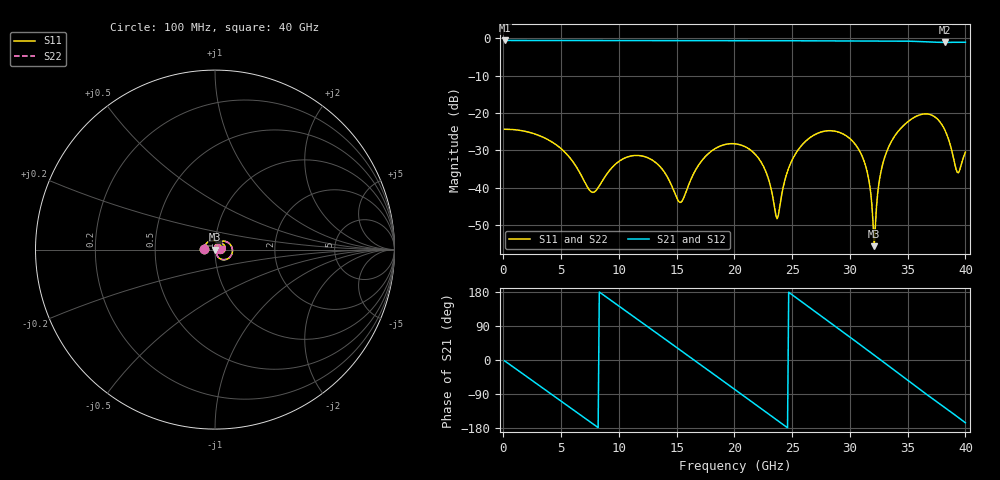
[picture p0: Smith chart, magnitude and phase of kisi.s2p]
! T_vna6_cpwg_10: Coplanar waveguide with ground, LibreVNA RF class (w 0.35, gap 0.18 mm), 10 mm
! stackup: LibreVNA 6-layer (7628 / FR-4, from the board file)
! ports: 1 near A, 2 far A
! kisi-fdtd, conformal, dfine 0.035 mm, 683520 cells
# Hz S RI R 50
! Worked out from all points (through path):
!   400 points, 100 MHz to 40 GHz, reference 50 ohm
!   highest |S21| = -0.54 dB at 100 MHz (marker M1); lowest = -1.1 dB at 38.2 GHz (marker M2)
!   group delay of S21, straight-line fit = 61.5 ps
!   lowest |S11| = -55.6 dB at 32.1 GHz (marker M3), VSWR 1.00, Z = 50.2 + j0.0127 ohm
!   |S11| at or under -10 dB: start of sweep to end of sweep
!   |S22| runs from -55.6 to -20.2 dB; largest |S21 - S12| = 0
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1e8  -0.0608 0.00284  0.9386 -0.0358  0.9386 -0.0358  -0.0608 0.00284
3.6e9  0.00337 0.0461  0.1889 -0.918  0.1889 -0.918  0.00337 0.0461
6.8e9  0.012 0.00733  -0.7931 -0.4968  -0.7931 -0.4968  0.012 0.00733
9.6e9  0.0026 0.0199  -0.8185 0.4527  -0.8185 0.4527  0.0026 0.0199
1.34e10  0.0196 0.0054  0.3498 0.8665  0.3498 0.8665  0.0196 0.0054
1.53e10  0.00453 0.00448  0.8368 0.4149  0.8368 0.4149  0.00453 0.00448
1.67e10  0.00176 0.0179  0.9309 -0.0711  0.9309 -0.0711  0.00176 0.0179
2.01e10  0.0356 0.0154  0.1741 -0.9156  0.1741 -0.9156  0.0356 0.0154
2.24e10  0.0196 -0.00739  -0.6 -0.7127  -0.6 -0.7127  0.0196 -0.00739
2.37e10  0.00331 0.00197  -0.8693 -0.3347  -0.8693 -0.3347  0.00331 0.00197
2.48e10  0.00208 0.02  -0.9292 0.0558  -0.9292 0.0558  0.00208 0.02
2.67e10  0.0322 0.0366  -0.6476 0.6656  -0.6476 0.6656  0.0322 0.0366
2.87e10  0.0571 0.00493  0.00772 0.927  0.00772 0.927  0.0571 0.00493
3.08e10  0.0243 -0.0207  0.6847 0.6251  0.6847 0.6251  0.0243 -0.0207
3.17e10  0.00623 -0.00929  0.8596 0.3474  0.8596 0.3474  0.00623 -0.00929
3.21e10  0.00165 0.000127  0.9032 0.2071  0.9032 0.2071  0.00165 0.000127
3.25e10  0.000471 0.0111  0.9237 0.0618  0.9237 0.0618  0.000471 0.0111
3.34e10  0.0115 0.0347  0.8849 -0.264  0.8849 -0.264  0.0115 0.0347
3.58e10  0.0883 0.0239  0.2866 -0.865  0.2866 -0.865  0.0883 0.0239
3.82e10  0.0303 -0.0521  -0.5097 -0.7248  -0.5097 -0.7248  0.0303 -0.0521
3.93e10  0.0125 -0.0101  -0.7676 -0.4486  -0.7676 -0.4486  0.0125 -0.0101
4e10  0.03 0.000817  -0.8611 -0.2218  -0.8611 -0.2218  0.03 0.000817
